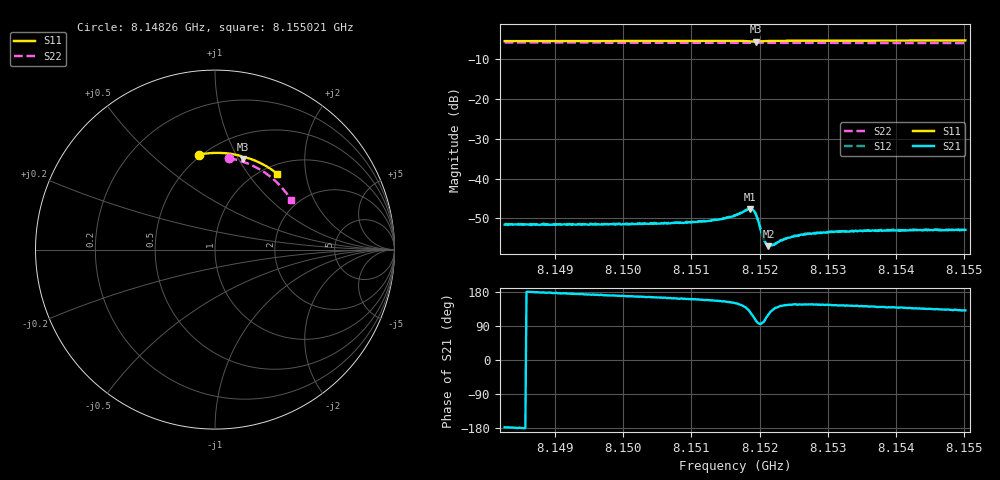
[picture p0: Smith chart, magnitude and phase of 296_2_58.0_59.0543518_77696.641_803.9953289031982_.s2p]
#  HZ  S  RI  R  50.00
! Rohde & Schwarz Vector Network Analyzer
! Rohde-Schwarz,ZNB20-2Port,1311601062101988,3.16
! Created: UTC 3/21/2024, 1:03:35 AM
! freq[Hz]  re:S11  im:S11  re:S21  im:S21  re:S12  im:S12  re:S22  im:S22
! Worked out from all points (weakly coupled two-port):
!   401 points, 8.14826 GHz to 8.155021 GHz, reference 50 ohm
!   highest |S21| = -47.66 dB at 8.15186 GHz (marker M1); lowest = -57.0 dB at 8.152131 GHz (marker M2)
!   lowest |S11| = -5.5 dB at 8.151945 GHz (marker M3), VSWR 3.25, Z = 37.2 + j52.3 ohm
!   |S11| at or under -10 dB: nowhere
!   |S22| runs from -5.9 to -5.8 dB; largest |S21 - S12| = 0.00012
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8.14826e9  -0.0918 0.5285  -0.00262 -0.000123  -0.00266 -7.66e-05  0.0754 0.5091
8.1493925e9  -0.0134 0.5382  -0.00261 0.000273  -0.00262 0.000331  0.1472 0.4921
8.1505249e9  0.0657 0.5364  -0.00262 0.000705  -0.00263 0.000775  0.2153 0.465
8.1512348e9  0.1152 0.5288  -0.00272 0.00108  -0.00274 0.00114  0.2555 0.4432
8.1514545e9  0.1309 0.5251  -0.0028 0.00134  -0.00279 0.00136  0.2675 0.4357
8.1516405e9  0.1446 0.5209  -0.00295 0.00171  -0.00298 0.00177  0.2775 0.4289
8.1518602e9  0.1587 0.5095  -0.00248 0.00331  -0.0025 0.00332  0.2889 0.4206
8.1519109e9  0.1583 0.5059  -0.00163 0.00363  -0.00158 0.00368  0.2913 0.4188
8.1519447e9  0.1571 0.5056  -0.000904 0.00344  -0.000857 0.00348  0.293 0.4174
8.1519785e9  0.1563 0.5069  -0.000392 0.00296  -0.00037 0.00298  0.2944 0.4164
8.1520461e9  0.1594 0.5107  -0.000295 0.00187  -0.00026 0.00188  0.2981 0.414
8.152063e9  0.1607 0.5114  -0.000328 0.00169  -0.000337 0.00168  0.2989 0.4134
8.1520968e9  0.1635 0.5123  -0.000552 0.00142  -0.000512 0.00142  0.3007 0.4121
8.1521306e9  0.1664 0.5124  -0.000692 0.00123  -0.000733 0.00127  0.3025 0.411
8.1521644e9  0.1693 0.5124  -0.000889 0.00114  -0.000878 0.00118  0.3042 0.4095
8.152232e9  0.1748 0.5118  -0.00112 0.00102  -0.00111 0.00105  0.3077 0.4069
8.1523334e9  0.1825 0.5103  -0.00133 0.001  -0.00132 0.00106  0.3128 0.4027
8.1525025e9  0.1946 0.5066  -0.00157 0.00102  -0.00159 0.00104  0.3212 0.396
8.1527729e9  0.213 0.5  -0.00171 0.0011  -0.00172 0.00113  0.3342 0.3846
8.153094e9  0.2339 0.4912  -0.00173 0.00123  -0.00173 0.00126  0.3491 0.3706
8.1539053e9  0.284 0.4655  -0.00169 0.00147  -0.00166 0.00149  0.3839 0.3325
8.1550209e9  0.3476 0.4221  -0.00148 0.00171  -0.00147 0.00175  0.4248 0.2752
